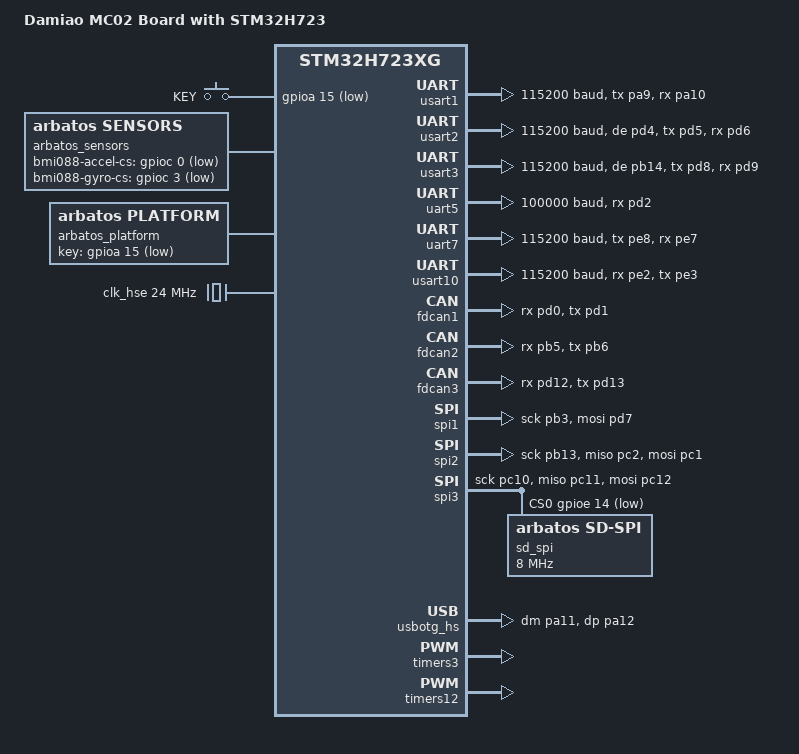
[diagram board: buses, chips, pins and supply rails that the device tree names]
/* SPDX-License-Identifier: Apache-2.0 */

/dts-v1/;
#include <st/h7/stm32h723Xg.dtsi>
#include "dm_mc02_h7-pinctrl.dtsi"
#include <zephyr/dt-bindings/input/input-event-codes.h>
#include <zephyr/dt-bindings/pwm/pwm.h>

/ {
	model = "Damiao MC02 Board with STM32H723";
	compatible = "arbatos,dm-mc02-h7";

	chosen {
		zephyr,console = &usart1;
		zephyr,shell-uart = &usart1;
		zephyr,dtcm = &dtcm;
		zephyr,sram = &sram0;
		zephyr,flash = &flash0;
		zephyr,canbus = &fdcan1;
	};

	aliases {
		sw0 = &user_key;
		can-primary = &fdcan1;
		can-secondary = &fdcan2;
		can-tertiary = &fdcan3;
		uart-rc = &uart5;
		uart-aux = &usart1;
		uart-referee = &uart7;
		uart-rs485-0 = &usart2;
		uart-rs485-1 = &usart3;
		sd-spi = &sd_spi;
	};

	keys {
		compatible = "gpio-keys";
		user_key: key_0 {
			label = "KEY";
			gpios = <&gpioa 15 GPIO_ACTIVE_LOW>;
			zephyr,code = <INPUT_KEY_0>;
		};
	};

	arbatos_sensors {
		compatible = "arbatos,sensors";
		bmi088-spi = <&spi2>;
		bmi088-accel-cs-gpios = <&gpioc 0 GPIO_ACTIVE_LOW>;
		bmi088-gyro-cs-gpios = <&gpioc 3 GPIO_ACTIVE_LOW>;
		bmi088-spi-hz = <8000000>;
		imu-heater-pwms = <&pwm3 4 PWM_USEC(1000) PWM_POLARITY_NORMAL>;
		imu-heater-period-cycles = <10000>;
	};

	arbatos_platform: arbatos-platform {
		compatible = "arbatos,platform";
		key-gpios = <&gpioa 15 GPIO_ACTIVE_LOW>;
		buzzer-pwms = <&pwm12 2 PWM_USEC(100) PWM_POLARITY_NORMAL>;
	};
};

&clk_lsi { status = "okay"; };
&clk_hsi48 { status = "okay"; };
&clk_hse { clock-frequency = <DT_FREQ_M(24)>; status = "okay"; };
&pll { div-m = <2>; mul-n = <40>; div-p = <1>; div-q = <4>; div-r = <2>; clocks = <&clk_hse>; status = "okay"; };
&pll2 { div-m = <3>; mul-n = <10>; div-p = <1>; div-q = <1>; div-r = <1>; clocks = <&clk_hse>; status = "okay"; };
&rcc { clocks = <&pll>; clock-frequency = <DT_FREQ_M(480)>; d1cpre = <1>; hpre = <2>; d1ppre = <2>; d2ppre1 = <2>; d2ppre2 = <2>; d3ppre = <2>; };
&pwr { power-supply = "ldo"; };

&usart1 { pinctrl-0 = <&usart1_tx_pa9 &usart1_rx_pa10>; pinctrl-names = "default"; current-speed = <115200>; status = "okay"; };
&usart2 { pinctrl-0 = <&usart2_de_pd4 &usart2_tx_pd5 &usart2_rx_pd6>; pinctrl-names = "default"; current-speed = <115200>; status = "okay"; };
&usart3 { pinctrl-0 = <&usart3_de_pb14 &usart3_tx_pd8 &usart3_rx_pd9>; pinctrl-names = "default"; current-speed = <115200>; status = "okay"; };
&uart5 { pinctrl-0 = <&uart5_rx_pd2>; pinctrl-names = "default"; current-speed = <100000>; status = "okay"; };
&uart7 { pinctrl-0 = <&uart7_tx_pe8 &uart7_rx_pe7>; pinctrl-names = "default"; current-speed = <115200>; status = "okay"; };
&usart10 { pinctrl-0 = <&usart10_rx_pe2 &usart10_tx_pe3>; pinctrl-names = "default"; current-speed = <115200>; status = "okay"; };
&fdcan1 { pinctrl-0 = <&fdcan1_rx_pd0 &fdcan1_tx_pd1>; pinctrl-names = "default"; clocks = <&rcc STM32_CLOCK(APB1_2, 8)>, <&rcc STM32_SRC_PLL2_Q FDCAN_SEL(2)>; status = "okay"; };
&fdcan2 { pinctrl-0 = <&fdcan2_rx_pb5 &fdcan2_tx_pb6>; pinctrl-names = "default"; clocks = <&rcc STM32_CLOCK(APB1_2, 8)>, <&rcc STM32_SRC_PLL2_Q FDCAN_SEL(2)>; status = "okay"; };
&fdcan3 { pinctrl-0 = <&fdcan3_rx_pd12 &fdcan3_tx_pd13>; pinctrl-names = "default"; clocks = <&rcc STM32_CLOCK(APB1_2, 8)>, <&rcc STM32_SRC_PLL2_Q FDCAN_SEL(2)>; status = "okay"; };
&spi1 { pinctrl-0 = <&spi1_sck_pb3 &spi1_mosi_pd7>; pinctrl-names = "default"; status = "okay"; };
&spi2 { pinctrl-0 = <&spi2_sck_pb13 &spi2_miso_pc2 &spi2_mosi_pc1>; pinctrl-names = "default"; status = "okay"; };
&spi3 {
	pinctrl-0 = <&spi3_sck_pc10 &spi3_miso_pc11 &spi3_mosi_pc12>;
	pinctrl-names = "default";
	cs-gpios = <&gpioe 14 GPIO_ACTIVE_LOW>;
	status = "okay";

	sd_spi: sd-card@0 {
		compatible = "arbatos,sd-spi";
		reg = <0>;
		spi-max-frequency = <8000000>;
	};
};
/* SPI3 and SPI6 share PC12. Keep SPI6 disabled until the LCD and SD wiring is selected. */
&spi6 { status = "disabled"; };
zephyr_udc0: &usbotg_hs {
	pinctrl-0 = <&usb_otg_hs_dm_pa11 &usb_otg_hs_dp_pa12>;
	pinctrl-names = "default";
	maximum-speed = "full-speed";
	status = "okay";

	cdc_acm_uart0: cdc_acm_uart0 {
		compatible = "zephyr,cdc-acm-uart";
	};
};

&timers3 { status = "okay"; pwm3: pwm { status = "okay"; pinctrl-0 = <&tim3_ch4_pb1>; pinctrl-names = "default"; }; };
&timers12 { status = "okay"; pwm12: pwm { status = "okay"; pinctrl-0 = <&tim12_ch2_pb15>; pinctrl-names = "default"; }; };
